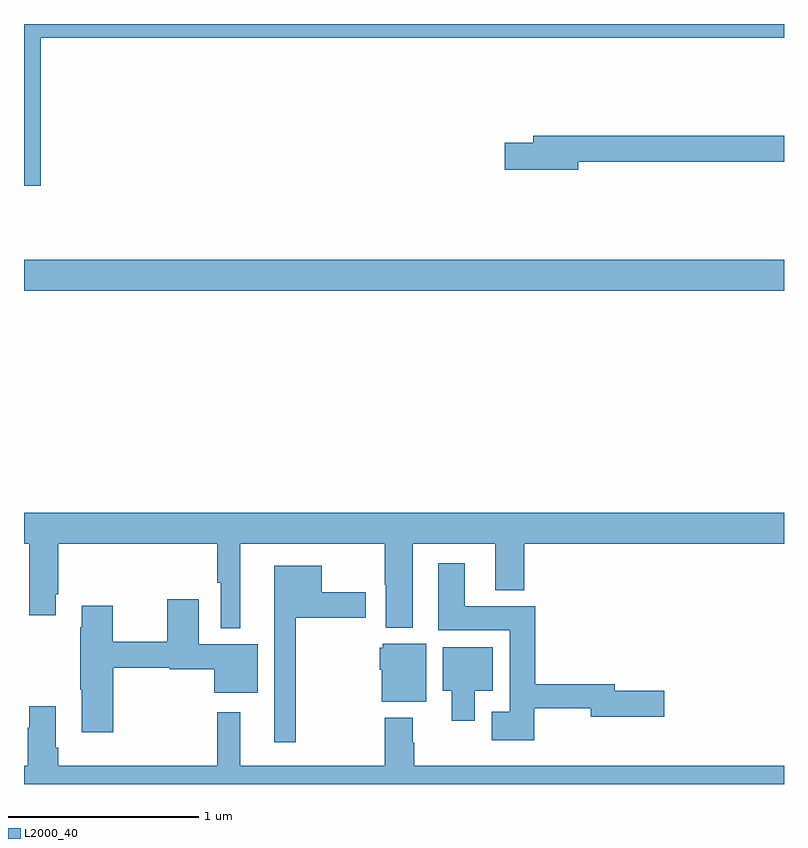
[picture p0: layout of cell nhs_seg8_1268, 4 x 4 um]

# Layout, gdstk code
import gdstk
lib = gdstk.Library(unit=1e-6, precision=1e-09)
def R(c, l, rs):  # rectangles x0, y0, x1, y1
    for r in rs: c.add(gdstk.rectangle(r[:2], r[2:], *l))
def P(c, l, *ps):  # polygons
    for p in ps: c.add(gdstk.Polygon(p, *l))
L2000_40 = (2000, 40)

nhs_seg8_1268 = lib.new_cell('nhs_seg8_1268')
R(nhs_seg8_1268, L2000_40, [(191,1120.496,195,1120.66)])
P(nhs_seg8_1268, L2000_40, [(191.087,1121.828),(195,1121.828),(195,1121.9),(191,1121.9),(191,1121.049),(191.087,1121.049)],
  [(193.918,1121.176),(195,1121.176),(195,1121.312),(193.679,1121.312),(193.679,1121.276),(193.53,1121.276),(193.53,1121.134),(193.918,1121.134)],
  [(192.139,1119.164),(192.898,1119.164),(192.898,1118.949),(192.905,1118.949),(192.905,1118.723),(193.045,1118.723),(193.045,1119.164),(193.481,1119.164),(193.481,1118.921),(193.634,1118.921),(193.634,1119.164),(195,1119.164),(195,1119.328),(191,1119.328),(191,1119.164),(191.027,1119.164),(191.027,1118.787),(191.167,1118.787),(191.167,1118.899),(191.18,1118.899),(191.18,1119.164),(192.018,1119.164),(192.018,1118.959),(192.035,1118.959),(192.035,1118.72),(192.139,1118.72)],
  [(193.686,1118.298),(193.982,1118.298),(193.982,1118.255),(194.371,1118.255),(194.371,1118.39),(194.11,1118.39),(194.11,1118.426),(193.691,1118.426),(193.691,1118.836),(193.321,1118.836),(193.321,1119.061),(193.181,1119.061),(193.181,1118.708),(193.556,1118.708),(193.556,1118.281),(193.461,1118.281),(193.461,1118.129),(193.686,1118.129)],
  [(192.431,1118.774),(192.799,1118.774),(192.799,1118.908),(192.568,1118.908),(192.568,1119.049),(192.317,1119.049),(192.317,1118.121),(192.431,1118.121)],
  [(191.471,1118.512),(191.766,1118.512),(191.766,1118.504),(192.002,1118.504),(192.002,1118.381),(192.229,1118.381),(192.229,1118.635),(191.92,1118.635),(191.92,1118.872),(191.755,1118.872),(191.755,1118.648),(191.466,1118.648),(191.466,1118.839),(191.303,1118.839),(191.303,1118.726),(191.296,1118.726),(191.296,1118.395),(191.303,1118.395),(191.303,1118.172),(191.471,1118.172)],
  [(193.117,1118.638),(192.888,1118.638),(192.888,1118.616),(192.872,1118.616),(192.872,1118.502),(192.884,1118.502),(192.884,1118.333),(193.117,1118.333)],
  [(193.372,1118.39),(193.468,1118.39),(193.468,1118.62),(193.205,1118.62),(193.205,1118.39),(193.25,1118.39),(193.25,1118.232),(193.372,1118.232)],
  [(195,1117.996),(193.053,1117.996),(193.053,1118.117),(193.045,1118.117),(193.045,1118.248),(192.898,1118.248),(192.898,1117.996),(192.139,1117.996),(192.139,1118.278),(192.018,1118.278),(192.018,1117.996),(191.18,1117.996),(191.18,1118.092),(191.167,1118.092),(191.167,1118.308),(191.027,1118.308),(191.027,1118.195),(191.02,1118.195),(191.02,1117.996),(191,1117.996),(191,1117.9),(195,1117.9)])

lib.write_gds('nhs_seg8_1268.gds')
